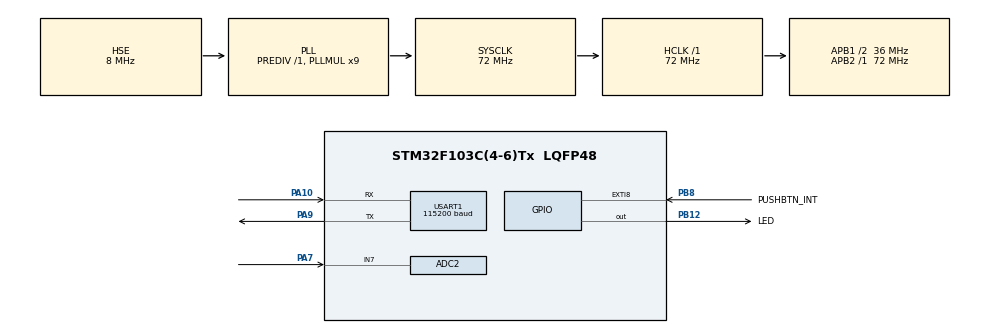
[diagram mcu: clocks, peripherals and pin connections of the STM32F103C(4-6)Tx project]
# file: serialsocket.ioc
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ADC1.Channel-0\#ChannelRegularConversion=ADC_CHANNEL_TEMPSENSOR
ADC1.ContinuousConvMode=ENABLE
ADC1.NbrOfConversionFlag=1
ADC1.Rank-0\#ChannelRegularConversion=1
ADC1.SamplingTime-0\#ChannelRegularConversion=ADC_SAMPLETIME_71CYCLES_5
ADC1.master=1
ADC2.Channel-0\#ChannelRegularConversion=ADC_CHANNEL_7
ADC2.ContinuousConvMode=ENABLE
ADC2.NbrOfConversionFlag=1
ADC2.Rank-0\#ChannelRegularConversion=1
ADC2.SamplingTime-0\#ChannelRegularConversion=ADC_SAMPLETIME_71CYCLES_5
Mcu.Family=STM32F1
Mcu.Name=STM32F103C(4-6)Tx
Mcu.Package=LQFP48
NVIC.EXTI9_5_IRQn=true\:0\:0\:false\:false\:true\:true\:true\:true
NVIC.PriorityGroup=NVIC_PRIORITYGROUP_4
NVIC.USART1_IRQn=true\:0\:0\:false\:false\:true\:true\:true\:true
PA10.Mode=Asynchronous
PA10.Signal=USART1_RX
PA13.Mode=Serial_Wire
PA13.Signal=SYS_JTMS-SWDIO
PA14.Mode=Serial_Wire
PA14.Signal=SYS_JTCK-SWCLK
PA7.Signal=ADCx_IN7
PA9.Mode=Asynchronous
PA9.Signal=USART1_TX
PB12.GPIO_Label=LED
PB12.Signal=GPIO_Output
PB8.GPIO_Label=PUSHBTN_INT
PB8.GPIO_ModeDefaultEXTI=GPIO_MODE_IT_FALLING
PB8.Signal=GPXTI8
PD0-OSC_IN.Mode=HSE-External-Oscillator
PD0-OSC_IN.Signal=RCC_OSC_IN
PD1-OSC_OUT.Mode=HSE-External-Oscillator
PD1-OSC_OUT.Signal=RCC_OSC_OUT
ProjectManager.HeapSize=0x200
ProjectManager.StackSize=0x400
ProjectManager.TargetToolchain=STM32CubeIDE
RCC.ADCPresc=RCC_ADCPCLK2_DIV6
RCC.AHBFreq_Value=72000000
RCC.APB1CLKDivider=RCC_HCLK_DIV2
RCC.APB1Freq_Value=36000000
RCC.APB1TimFreq_Value=72000000
RCC.APB2Freq_Value=72000000
RCC.APB2TimFreq_Value=72000000
RCC.HCLKFreq_Value=72000000
RCC.PLLMUL=RCC_PLL_MUL9
RCC.PLLSourceVirtual=RCC_PLLSOURCE_HSE
RCC.SYSCLKFreq_VALUE=72000000
RCC.SYSCLKSource=RCC_SYSCLKSOURCE_PLLCLK
RCC.USBFreq_Value=72000000
SH.ADCx_IN7.0=ADC2_IN7,IN7
USART1.BaudRate=115200
USART1.VirtualMode=VM_ASYNC
VP_ADC1_TempSens_Input.Mode=IN-TempSens
board=custom

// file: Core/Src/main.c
/* USER CODE BEGIN Header */
/**
 ******************************************************************************
 * @file           : main.c
 * @brief          : Main program body
 ******************************************************************************
 * @attention
 *
 * Copyright (c) 2023 STMicroelectronics.
 * All rights reserved.
 *
 * This software is licensed under terms that can be found in the LICENSE file
 * in the root directory of this software component.
 * If no LICENSE file comes with this software, it is provided AS-IS.
 *
 ******************************************************************************
 */
/* USER CODE END Header */
#include "main.h"

/* USER CODE BEGIN Includes */
#include <stdio.h>
#include <string.h>

/* USER CODE END Includes */

ADC_HandleTypeDef hadc1;
ADC_HandleTypeDef hadc2;

UART_HandleTypeDef huart1;

void SystemClock_Config(void);
static void MX_GPIO_Init(void);
static void MX_USART1_UART_Init(void);
static void MX_ADC1_Init(void);
static void MX_ADC2_Init(void);

/* USER CODE BEGIN 0 */

char data_buffer[100]; // data buffer
uint8_t recvd_data; // receive buffer
uint32_t count = 0; // count how many bytes are received
uint32_t previousMillis = 0;
uint32_t currentMillis = 0;
char stringBuffer[50];

void transmitLEDState(void) {
    char btnStrBuffer[20]; // Adjust the size as per your requirement
    // Assuming you have defined appropriate macros or variables for LED_GPIO_Port and LED_Pin
    snprintf(btnStrBuffer, sizeof(btnStrBuffer), "{\"LED\"}:%d \n\r", HAL_GPIO_ReadPin(LED_GPIO_Port, LED_Pin));
    // Assuming you have defined huart1 and HAL_UART_Transmit correctly
    HAL_UART_Transmit(&huart1, (uint8_t *)btnStrBuffer, strlen(btnStrBuffer), 100);
}
/* USER CODE END 0 */

int main(void)
{

  /* MCU Configuration--------------------------------------------------------*/

  /* Reset of all peripherals, Initializes the Flash interface and the Systick. */
  HAL_Init();

  /* Configure the system clock */
  SystemClock_Config();

  /* Initialize all configured peripherals */
  MX_GPIO_Init();
  MX_USART1_UART_Init();
  MX_ADC1_Init();
  MX_ADC2_Init();
  /* USER CODE BEGIN 2 */
  HAL_ADCEx_Calibration_Start(&hadc1);
  HAL_ADCEx_Calibration_Start(&hadc2);

  HAL_ADC_Start( & hadc1);
  HAL_ADC_Start(&hadc2);

  //  char *user_data = "The application is running\r\n"; //demo data for transmission-
  HAL_UART_Receive_IT( & huart1, & recvd_data, 1); //receive data from data buffer interrupt mode
  transmitLEDState();

  /* USER CODE END 2 */

  /* Infinite loop */
  /* USER CODE BEGIN WHILE */

  while (1) {

    HAL_ADC_PollForConversion( & hadc1, 1000);
    HAL_ADC_PollForConversion( & hadc2, 1000);

    uint8_t tempValue = HAL_ADC_GetValue( & hadc1);
    uint8_t LDRValue = HAL_ADC_GetValue( & hadc2);
    float celsius = (357.558 - 0.187364 * tempValue) / 10.0;

    snprintf(stringBuffer, sizeof(stringBuffer), "{\"temperature\":%.4f,\"LDR\":%d}\n\r", celsius,LDRValue);

    HAL_UART_Transmit( & huart1, (uint8_t * ) stringBuffer, strlen(stringBuffer), 1000);
    HAL_Delay(1000);
  }

    /* USER CODE END WHILE */

}

void SystemClock_Config(void)
{
  RCC_OscInitTypeDef RCC_OscInitStruct = {0};
  RCC_ClkInitTypeDef RCC_ClkInitStruct = {0};
  RCC_PeriphCLKInitTypeDef PeriphClkInit = {0};

  /** Initializes the RCC Oscillators according to the specified parameters
  * in the RCC_OscInitTypeDef structure.
  */
  RCC_OscInitStruct.OscillatorType = RCC_OSCILLATORTYPE_HSE;
  RCC_OscInitStruct.HSEState = RCC_HSE_ON;
  RCC_OscInitStruct.HSEPredivValue = RCC_HSE_PREDIV_DIV1;
  RCC_OscInitStruct.HSIState = RCC_HSI_ON;
  RCC_OscInitStruct.PLL.PLLState = RCC_PLL_ON;
  RCC_OscInitStruct.PLL.PLLSource = RCC_PLLSOURCE_HSE;
  RCC_OscInitStruct.PLL.PLLMUL = RCC_PLL_MUL9;
  if (HAL_RCC_OscConfig(&RCC_OscInitStruct) != HAL_OK)
  {
    Error_Handler();
  }

  /** Initializes the CPU, AHB and APB buses clocks
  */
  RCC_ClkInitStruct.ClockType = RCC_CLOCKTYPE_HCLK|RCC_CLOCKTYPE_SYSCLK
                              |RCC_CLOCKTYPE_PCLK1|RCC_CLOCKTYPE_PCLK2;
  RCC_ClkInitStruct.SYSCLKSource = RCC_SYSCLKSOURCE_PLLCLK;
  RCC_ClkInitStruct.AHBCLKDivider = RCC_SYSCLK_DIV1;
  RCC_ClkInitStruct.APB1CLKDivider = RCC_HCLK_DIV2;
  RCC_ClkInitStruct.APB2CLKDivider = RCC_HCLK_DIV1;

  if (HAL_RCC_ClockConfig(&RCC_ClkInitStruct, FLASH_LATENCY_2) != HAL_OK)
  {
    Error_Handler();
  }
  PeriphClkInit.PeriphClockSelection = RCC_PERIPHCLK_ADC;
  PeriphClkInit.AdcClockSelection = RCC_ADCPCLK2_DIV6;
  if (HAL_RCCEx_PeriphCLKConfig(&PeriphClkInit) != HAL_OK)
  {
    Error_Handler();
  }
}

static void MX_ADC1_Init(void)
{

  ADC_ChannelConfTypeDef sConfig = {0};

  /** Common config
  */
  hadc1.Instance = ADC1;
  hadc1.Init.ScanConvMode = ADC_SCAN_DISABLE;
  hadc1.Init.ContinuousConvMode = ENABLE;
  hadc1.Init.DiscontinuousConvMode = DISABLE;
  hadc1.Init.ExternalTrigConv = ADC_SOFTWARE_START;
  hadc1.Init.DataAlign = ADC_DATAALIGN_RIGHT;
  hadc1.Init.NbrOfConversion = 1;
  if (HAL_ADC_Init(&hadc1) != HAL_OK)
  {
    Error_Handler();
  }

  /** Configure Regular Channel
  */
  sConfig.Channel = ADC_CHANNEL_TEMPSENSOR;
  sConfig.Rank = ADC_REGULAR_RANK_1;
  sConfig.SamplingTime = ADC_SAMPLETIME_71CYCLES_5;
  if (HAL_ADC_ConfigChannel(&hadc1, &sConfig) != HAL_OK)
  {
    Error_Handler();
  }

}

static void MX_ADC2_Init(void)
{

  ADC_ChannelConfTypeDef sConfig = {0};

  /** Common config
  */
  hadc2.Instance = ADC2;
  hadc2.Init.ScanConvMode = ADC_SCAN_DISABLE;
  hadc2.Init.ContinuousConvMode = ENABLE;
  hadc2.Init.DiscontinuousConvMode = DISABLE;
  hadc2.Init.ExternalTrigConv = ADC_SOFTWARE_START;
  hadc2.Init.DataAlign = ADC_DATAALIGN_RIGHT;
  hadc2.Init.NbrOfConversion = 1;
  if (HAL_ADC_Init(&hadc2) != HAL_OK)
  {
    Error_Handler();
  }

  /** Configure Regular Channel
  */
  sConfig.Channel = ADC_CHANNEL_7;
  sConfig.Rank = ADC_REGULAR_RANK_1;
  sConfig.SamplingTime = ADC_SAMPLETIME_71CYCLES_5;
  if (HAL_ADC_ConfigChannel(&hadc2, &sConfig) != HAL_OK)
  {
    Error_Handler();
  }

}

static void MX_USART1_UART_Init(void)
{

  huart1.Instance = USART1;
  huart1.Init.BaudRate = 115200;
  huart1.Init.WordLength = UART_WORDLENGTH_8B;
  huart1.Init.StopBits = UART_STOPBITS_1;
  huart1.Init.Parity = UART_PARITY_NONE;
  huart1.Init.Mode = UART_MODE_TX_RX;
  huart1.Init.HwFlowCtl = UART_HWCONTROL_NONE;
  huart1.Init.OverSampling = UART_OVERSAMPLING_16;
  if (HAL_UART_Init(&huart1) != HAL_OK)
  {
    Error_Handler();
  }

}

static void MX_GPIO_Init(void)
{
  GPIO_InitTypeDef GPIO_InitStruct = {0};

  /* GPIO Ports Clock Enable */
  __HAL_RCC_GPIOD_CLK_ENABLE();
  __HAL_RCC_GPIOA_CLK_ENABLE();
  __HAL_RCC_GPIOB_CLK_ENABLE();

  /*Configure GPIO pin Output Level */
  HAL_GPIO_WritePin(LED_GPIO_Port, LED_Pin, GPIO_PIN_RESET);

  /*Configure GPIO pin : LED_Pin */
  GPIO_InitStruct.Pin = LED_Pin;
  GPIO_InitStruct.Mode = GPIO_MODE_OUTPUT_PP;
  GPIO_InitStruct.Pull = GPIO_NOPULL;
  GPIO_InitStruct.Speed = GPIO_SPEED_FREQ_LOW;
  HAL_GPIO_Init(LED_GPIO_Port, &GPIO_InitStruct);

  /*Configure GPIO pin : PUSHBTN_INT_Pin */
  GPIO_InitStruct.Pin = PUSHBTN_INT_Pin;
  GPIO_InitStruct.Mode = GPIO_MODE_IT_FALLING;
  GPIO_InitStruct.Pull = GPIO_NOPULL;
  HAL_GPIO_Init(PUSHBTN_INT_GPIO_Port, &GPIO_InitStruct);

  /* EXTI interrupt init*/
  HAL_NVIC_SetPriority(EXTI9_5_IRQn, 0, 0);
  HAL_NVIC_EnableIRQ(EXTI9_5_IRQn);

}

/* USER CODE BEGIN 4 */
void HAL_GPIO_EXTI_Callback(uint16_t GPIO_Pin) {
  currentMillis = HAL_GetTick();

  if (GPIO_Pin == PUSHBTN_INT_Pin && (currentMillis - previousMillis > 200)) // If The INT Source Is EXTI Line4 (B4 Pin)
  {
    HAL_GPIO_TogglePin(LED_GPIO_Port, LED_Pin); // Toggle The Output (LED) Pin
    transmitLEDState();
    previousMillis = currentMillis;
  }
}
void HAL_UART_RxCpltCallback(UART_HandleTypeDef * huart) {
  if (huart == & huart1) // Make sure the callback is for UART1
  {
    if (recvd_data == '\r') { //when enter is pressed go to this condition
      data_buffer[count++] = '\0';

      if (strcmp(data_buffer, "TOGGLE_LED") == 0) //when enter is pressed go to this condition
      {
        HAL_GPIO_TogglePin(LED_GPIO_Port, LED_Pin); //loggle the user led which is connected to GPIO PA5
        transmitLEDState();
      }
      memset(data_buffer, 0, count); // enpty the data buffer
      count = 0;
    } else {
      data_buffer[count++] = recvd_data; // every time when interrput is happen, received 1 byte of data
    }
    HAL_UART_Receive_IT(huart, & recvd_data, 1); //start next data receive interrupt

  }
}
/* USER CODE END 4 */

void Error_Handler(void)
{
  __disable_irq();
  while (1) {}
}
